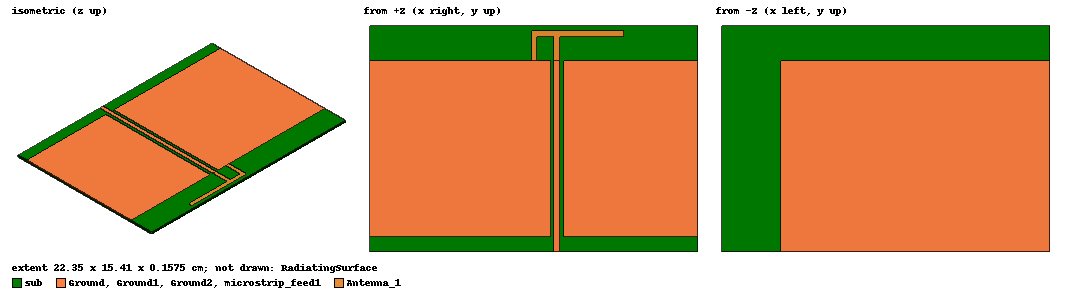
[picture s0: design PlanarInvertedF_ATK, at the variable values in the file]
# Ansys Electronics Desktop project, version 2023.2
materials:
  vacuum: permittivity=1
  FR4_epoxy: permittivity=4.4 dielectric_loss_tangent=0.02
  pec: conductivity=1e+30

design PlanarInvertedF_ATK (HFSS, HFSS Hybrid Terminal Network, model units cm)
options: Allow_Material_Override Save_Adaptive_support_files open_region{BoundaryType=0 OpFreq=0.915GHz}
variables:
  # --Antenna Dimensions
  Length1 = 6.32cm
  Length2 = 2.03cm
  Antenna_Trace_Width = 0.38cm
  Antenna_Offset = 1.14cm
  # --Substrate Dimensions
  subH = 0.1575cm
  subX = 12.7cm
  subY = 25.4cm
  # --Feed Dimensions
  Feed_Offset = -1.27cm
  Feed_Length = 0.038cm
  Feed_Width = 0.381cm
  shortY = -0.77cm
  shortX = 0cm
  coax_inner_rad = 0.159cm
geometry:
  NewObject_PI7O0A = rectangle(corner=(-Antenna_Trace_Width/2+Feed_Offset, 0cm, 0cm), x_size=Antenna_Trace_Width, y_size=Length2)
  Antenna_1 = rectangle(corner=(-Antenna_Trace_Width/2-Antenna_Offset+Feed_Offset, 0cm, 0cm), x_size=-Antenna_Trace_Width, y_size=Length2)
  antenna = rectangle(corner=(-Antenna_Trace_Width/2-Antenna_Offset-Antenna_Trace_Width+Feed_Offset, Length2, 0cm), x_size=Length1, y_size=-Antenna_Trace_Width)
  RadiatingSurface [vacuum] = region(absolute_offset=10.928962cm on all sides)
  Ground1 = rectangle(corner=(-14cm, -12cm, 0), x_size=12.3cm, y_size=12cm)
  Ground2 = rectangle(corner=(-0.8cm, -12cm, 0), x_size=9.15cm, y_size=12cm)
  sub [FR4_epoxy] = box(corner=(-14cm, -13cm, 0cm), size=(subX/2+16cm, 15.41cm, -subH))
  microstrip_feed1 = rectangle(corner=(-Feed_Width/2+Feed_Offset, 0cm, 0cm), x_size=Feed_Width, y_size=-13cm)
  port1 = rectangle(corner=(-Feed_Width/2+Feed_Offset, -13cm, 0cm), z_size=-subH, x_size=Feed_Width)
  Ground = rectangle(corner=(-14cm, -13cm, -subH), x_size=subX/2+12cm, y_size=13cm)
  Antenna_1.unite(NewObject_PI7O0A, antenna)
  short_pin [pec] = cylinder(axis=Z, base_centre=(shortX, -0.5cm, 0cm), radius=coax_inner_rad/3, height=-subH)
  short_pin1 [pec] = cylinder(axis=Z, base_centre=(-6cm, -0.5cm, 0cm), radius=coax_inner_rad/3, height=-subH)
  short_pin2 [pec] = cylinder(axis=Z, base_centre=(3cm, -0.5cm, 0cm), radius=coax_inner_rad/3, height=-subH)
  short_pin3 [pec] = cylinder(axis=Z, base_centre=(-4cm, -0.5cm, 0cm), radius=coax_inner_rad/3, height=-subH)
  short_pin4 [pec] = cylinder(axis=Z, base_centre=(1cm, -0.5cm, 0cm), radius=coax_inner_rad/3, height=-subH)
  short_pin5 [pec] = cylinder(axis=Z, base_centre=(-2cm, -0.5cm, 0cm), radius=coax_inner_rad/3, height=-subH)
  short_pin6 [pec] = cylinder(axis=Z, base_centre=(3cm, -0.5cm, 0cm), radius=coax_inner_rad/3, height=-subH)
  short_pin7 [pec] = cylinder(axis=Z, base_centre=(-4cm, -0.5cm, 0cm), radius=coax_inner_rad/3, height=-subH)
  short_pin8 [pec] = cylinder(axis=Z, base_centre=(shortX, -4cm, 0cm), radius=coax_inner_rad/3, height=-subH)
  short_pin9 [pec] = cylinder(axis=Z, base_centre=(-6cm, -4cm, 0cm), radius=coax_inner_rad/3, height=-subH)
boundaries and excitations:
  AutoOpen1: Radiation Objects=RadiatingSurface
  groundMetal1: Perfect E Objects=Ground1
  groundMetal2: Perfect E Objects=Ground2
  feedMetal1: Perfect E Objects=microstrip_feed1
  groundMetal: Perfect E Objects=Ground
  PerfE1: Perfect E Objects=Antenna_1
  microstrip_feed_T2: Terminal port=1 Edges=microstrip_feed1.edge(at (-1.27, -13, 0)) TerminalResistance=50ohm
  1: Lumped Port Faces=port1.face LumpedPortType=Terminal Impedance=50ohm
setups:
  ATK_Solution: HfssDriven Frequency=0.915GHz MaxDeltaS=0.02 MaximumPasses=15 MinimumPasses=1 MinimumConvergedPasses=1 PercentRefinement=30 BasisOrder=1 PortAccuracy=2 DrivenSolverType="Direct Solver" IESolverType=ACA
    sweep FF_Sweep: 0.4575GHz to 1.3725GHz, 3 points; Type=Discrete SaveFields
    sweep SParam_Sweep: 0.4575GHz to 1.3725GHz, 100 points; Type=Interpolating InterpTolerance=0.5 InterpMaxSolns=250 PassivityErrorTolerance=0.0001
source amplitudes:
  1:1: 1V 0deg
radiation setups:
  3D: Infinite Sphere Theta=0deg..180deg step 2deg Phi=-180deg..180deg step 2deg
  Elevation: Infinite Sphere Theta=-180deg..180deg step 1deg Phi=0deg..90deg step 90deg
  Azimuth: Infinite Sphere Theta=90deg..90deg step 0deg Phi=-180deg..180deg step 1deg
  ATK_2D: Infinite Sphere Theta=-180deg..180deg step 1deg Phi=0deg..90deg step 90deg
  ATK_3D: Infinite Sphere Theta=-180deg..180deg step 2deg Phi=0deg..180deg step 5deg
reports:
  ff_3D_GainTotal: dB(GainTotal) vs Phi, Theta on ATK_Solution : LastAdaptive, ATK_3D [Freq=9.15e+08]
  ff_2D_GainTotal: dB(GainTotal) vs Theta on ATK_Solution : LastAdaptive, ATK_2D [Phi=all Freq=9.15e+08]
  ff_2D_GainTotal_Stacked: dB(GainTotal) vs Theta on ATK_Solution : FF_Sweep, ATK_2D [Phi=all Freq=all]
  Return Loss: dB(St11) vs Freq on ATK_Solution : SParam_Sweep
  Input Impedance: St11 on ATK_Solution : SParam_Sweep [Freq=all]
  Terminal S Parameter Plot 1: dB(St(microstrip_feed_T2,microstrip_feed_T2)) vs Freq on ATK_Solution : FF_Sweep
  Terminal S Parameter Plot 2: dB(St(microstrip_feed_T2,microstrip_feed_T2)) vs Freq on ATK_Solution : FF_Sweep
  Terminal S Parameter Plot 3: dB(St(microstrip_feed_T2,microstrip_feed_T2)) vs Freq on ATK_Solution : FF_Sweep
  Gain Plot 1: dB(GainTotal) vs Phi, Theta on ATK_Solution : LastAdaptive, 3D [Freq=0.915GHz]
  Terminal S Parameter Plot 4: dB(St(microstrip_feed_T2,microstrip_feed_T2)) vs Freq on ATK_Solution : FF_Sweep
  Gain Plot 2: dB(GainTotal) vs Phi, Theta on ATK_Solution : LastAdaptive, 3D [Freq=0.915GHz]
  Terminal S Parameter Plot 5: dB(St(microstrip_feed_T2,microstrip_feed_T2)) vs Freq on ATK_Solution : FF_Sweep
  Terminal S Parameter Plot 6: dB(St(microstrip_feed_T2,microstrip_feed_T2)) vs Freq on ATK_Solution : FF_Sweep
  Terminal S Parameter Chart 1: St(microstrip_feed_T2,microstrip_feed_T2) on ATK_Solution : FF_Sweep [Freq=all]
  Terminal Z Parameter Plot 1: dB20(Zt(microstrip_feed_T2,microstrip_feed_T2)) vs Freq on ATK_Solution : FF_Sweep
  Terminal S Parameter Plot 7: dB(St(microstrip_feed_T2,microstrip_feed_T2)) vs Freq on ATK_Solution : FF_Sweep
  Terminal S Parameter Plot 8: dB(St(microstrip_feed_T2,microstrip_feed_T2)) vs Freq on ATK_Solution : FF_Sweep
  Terminal S Parameter Plot 9: dB(St(microstrip_feed_T2,microstrip_feed_T2)) vs Freq on ATK_Solution : FF_Sweep
  Terminal S Parameter Plot 10: dB(St(microstrip_feed_T2,microstrip_feed_T2)) vs Freq on ATK_Solution : FF_Sweep
  Terminal S Parameter Plot 11: dB(St(microstrip_feed_T2,microstrip_feed_T2)) vs Freq on ATK_Solution : FF_Sweep
  Terminal S Parameter Plot 12: dB(St(microstrip_feed_T2,microstrip_feed_T2)) vs Freq on ATK_Solution : FF_Sweep
  Gain Plot 3: dB(GainTotal) vs Phi, Theta on ATK_Solution : LastAdaptive, 3D [Freq=0.915GHz]
  Terminal S Parameter Plot 13: dB(St(microstrip_feed_T2,microstrip_feed_T2)) vs Freq on ATK_Solution : FF_Sweep
  Terminal S Parameter Plot 14: dB(St(microstrip_feed_T2,microstrip_feed_T2)) vs Freq on ATK_Solution : FF_Sweep
  Terminal S Parameter Plot 15: dB(St(microstrip_feed_T2,microstrip_feed_T2)) vs Freq on ATK_Solution : FF_Sweep
  Terminal S Parameter Plot 16: dB(St(microstrip_feed_T2,microstrip_feed_T2)) vs Freq on ATK_Solution : FF_Sweep
  Terminal S Parameter Plot 17: dB(St(microstrip_feed_T2,microstrip_feed_T2)) vs Freq on ATK_Solution : FF_Sweep
  Terminal S Parameter Plot 18: dB(St(microstrip_feed_T2,microstrip_feed_T2)) vs Freq on ATK_Solution : FF_Sweep
  Terminal S Parameter Plot 19: dB(St(microstrip_feed_T2,microstrip_feed_T2)) vs Freq on ATK_Solution : FF_Sweep
  Terminal S Parameter Plot 20: dB(St(microstrip_feed_T2,microstrip_feed_T2)) vs Freq on ATK_Solution : FF_Sweep
  Terminal S Parameter Plot 21: dB(St(microstrip_feed_T2,microstrip_feed_T2)) vs Freq on ATK_Solution : FF_Sweep
  Terminal S Parameter Plot 22: dB(St(microstrip_feed_T2,microstrip_feed_T2)) vs Freq on ATK_Solution : FF_Sweep
  Terminal S Parameter Plot 23: dB(St(microstrip_feed_T2,microstrip_feed_T2)) vs Freq on ATK_Solution : FF_Sweep
  Terminal S Parameter Plot 24: dB(St(microstrip_feed_T2,microstrip_feed_T2)) vs Freq on ATK_Solution : FF_Sweep
  Terminal S Parameter Plot 25: dB(St(microstrip_feed_T2,microstrip_feed_T2)) vs Freq on ATK_Solution : FF_Sweep
  Terminal S Parameter Plot 26: dB(St(microstrip_feed_T2,microstrip_feed_T2)) vs Freq on ATK_Solution : FF_Sweep
  Terminal S Parameter Plot 27: dB(St(microstrip_feed_T2,microstrip_feed_T2)) vs Freq on ATK_Solution : FF_Sweep
  Terminal S Parameter Plot 28: dB(St(microstrip_feed_T2,microstrip_feed_T2)) vs Freq on ATK_Solution : FF_Sweep
  Terminal S Parameter Plot 29: dB(St(microstrip_feed_T2,microstrip_feed_T2)) vs Freq on ATK_Solution : FF_Sweep
  Terminal S Parameter Plot 30: dB(St(microstrip_feed_T2,microstrip_feed_T2)) vs Freq on ATK_Solution : FF_Sweep
